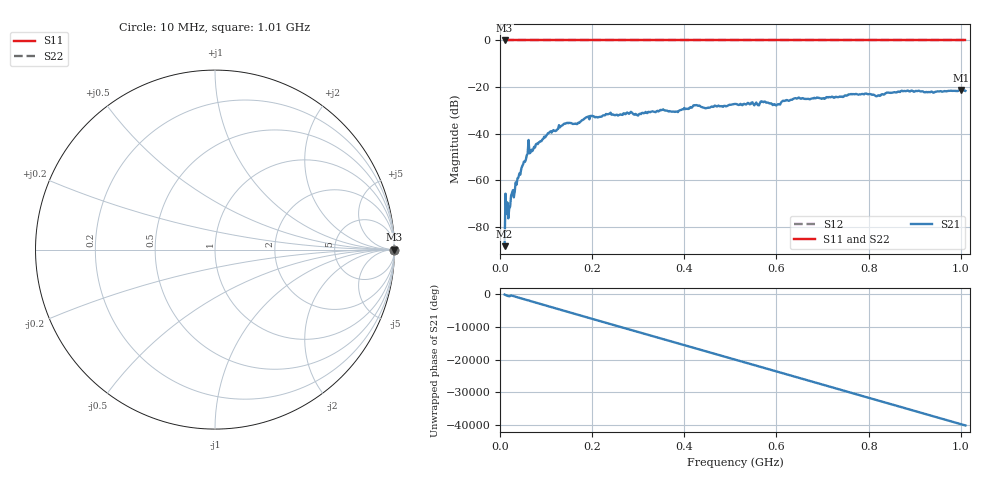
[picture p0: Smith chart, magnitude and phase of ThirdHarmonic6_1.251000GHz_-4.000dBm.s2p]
! 8/16/2025 1:22:10 PM
! C:\ANRITSUVNA\TEMP\TEMP.S2P
! CHANNEL.1
! TR.MEASUREMENT
! RAW.DATA
! RF.CORRECTION.OFF
! AVERAGING.OFF
! IF.BANDWIDTH: 5KHZ
! SWEEPTYPE:  FREQ.SWEEP(Linear)
! Reference Plane Port Info
! PORT:  PORT1  PORT2
! DISTANCE:  0  m  0  m
! TIME:  0  s  0  s
! PHASE.OFFSET:  0  deg.  0  deg.
! LOSS:  0  dB  0  dB
! REF.LOSS:  0  dB  0  dB
! REF.FREQ:  0  Hz  0  Hz
! Power Info
! POWER:  -20  dBm  -20  dBm
! EFF.POWER:  -20  dBm  -20  dBm
! SOURCE.ATTEN:  0  dB  0  dB
! TEST.ATTEN:  0  dB  0  dB
# GHZ S RI R 50.0
! FREQ.GHZ  S11RE  S11IM  S21RE  S21IM  S12RE  S12IM  S22RE  S22IM
!; PortSelection: Port_12
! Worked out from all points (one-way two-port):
!   501 points, 10 MHz to 1.01 GHz, reference 50 ohm
!   highest |S21| = -21.20 dB at 1 GHz (marker M1); lowest = -88.2 dB at 10 MHz (marker M2)
!   lowest |S11| = 0.0 dB at 10 MHz (marker M3)
!   |S11| at or under -10 dB: nowhere
!   |S22| runs from 0.0 to 0.0 dB; largest |S21 - S12| = 1.1
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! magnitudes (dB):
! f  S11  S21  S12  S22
! 10 MHz  0.0  -88.2  0.0  0.0
! 16 MHz  0.0  -69.5  0.0  0.0
! 18 MHz  0.0  -76.3  0.0  0.0
! 38 MHz  0.0  -59.1  0.0  0.0
! 62 MHz  0.0  -42.7  0.0  0.0
! 106 MHz  0.0  -39.7  0.0  0.0
! 132 MHz  0.0  -36.8  0.0  0.0
! 178 MHz  0.0  -34.2  0.0  0.0
! 236 MHz  0.0  -31.5  0.0  0.0
! 296 MHz  0.0  -31.7  0.0  0.0
! 344 MHz  0.0  -30.5  0.0  0.0
! 382 MHz  0.0  -30.5  0.0  0.0
! 424 MHz  0.0  -27.8  0.0  0.0
! 450 MHz  0.0  -29.0  0.0  0.0
! 510 MHz  0.0  -27.2  0.0  0.0
! 570 MHz  0.0  -26.3  0.0  0.0
! 602 MHz  0.0  -27.4  0.0  0.0
! 644 MHz  0.0  -24.9  0.0  0.0
! 678 MHz  0.0  -24.8  0.0  0.0
! 844 MHz  0.0  -22.4  0.0  0.0
! 1 GHz  0.0  -21.2  0.0  0.0
! 1.01 GHz  0.0  -21.6  0.0  0.0
